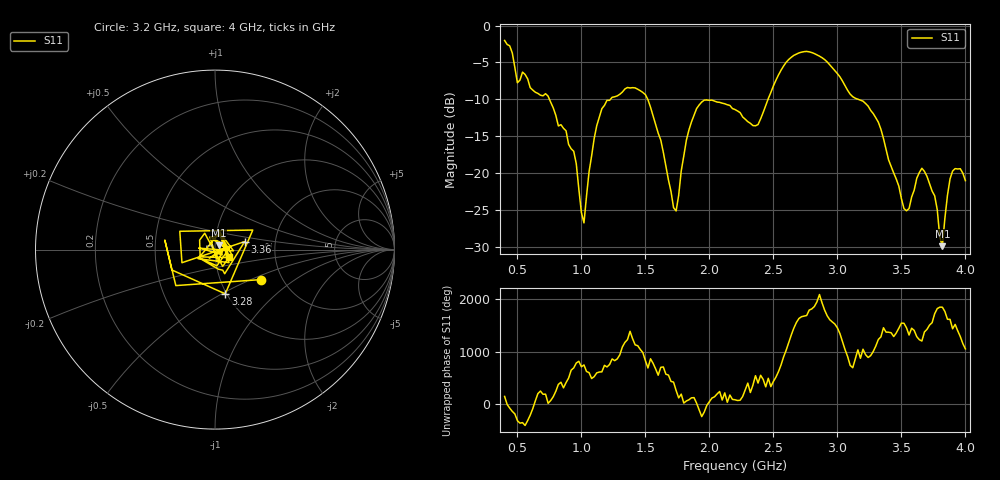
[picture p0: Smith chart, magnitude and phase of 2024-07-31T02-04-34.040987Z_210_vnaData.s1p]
!Created with skrf (http://scikit-rf.org).
# Hz S RI R 50.0
!freq ReS11 ImS11
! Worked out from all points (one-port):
!   181 points, 400 MHz to 4 GHz, reference 50 ohm
!   lowest |S11| = -29.9 dB at 3.82 GHz (marker M1), VSWR 1.07, Z = 52.2 + j2.43 ohm
!   |S11| at or under -10 dB: 750.3 MHz to 1.227 GHz (476.6 MHz wide, 48.2 % of centre); 1.518 GHz to 2.458 GHz (939.5 MHz wide, 47.3 % of centre); 3.162 GHz to end of sweep
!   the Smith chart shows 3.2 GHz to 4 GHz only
!   S11 on the Smith chart (normalised r, x): 3.2 GHz: 1.57, -0.58; 3.28 GHz: 0.99, -0.52; 3.36 GHz: 1.39, +0.13; 4 GHz: 1.17, -0.09
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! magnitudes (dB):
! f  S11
! 400 MHz  -2.0
! 500 MHz  -7.8
! 740 MHz  -9.6
! 860 MHz  -13.9
! 940 MHz  -17.1
! 1.02 GHz  -26.8
! 1.12 GHz  -13.6
! 1.3 GHz  -9.3
! 1.5 GHz  -9.4
! 1.62 GHz  -15.5
! 1.72 GHz  -24.7
! 1.76 GHz  -23.0
! 1.82 GHz  -15.6
! 1.9 GHz  -11.3
! 2.2 GHz  -11.4
! 2.38 GHz  -13.4
! 2.66 GHz  -4.0
! 2.88 GHz  -4.4
! 3.1 GHz  -9.3
! 3.2 GHz  -10.2
! 3.28 GHz  -11.9
! 3.36 GHz  -15.3
! 3.56 GHz  -24.8
! 3.66 GHz  -19.4
! 3.76 GHz  -23.1
! 3.82 GHz  -29.9
! 3.9 GHz  -19.7
! 4 GHz  -21.0
